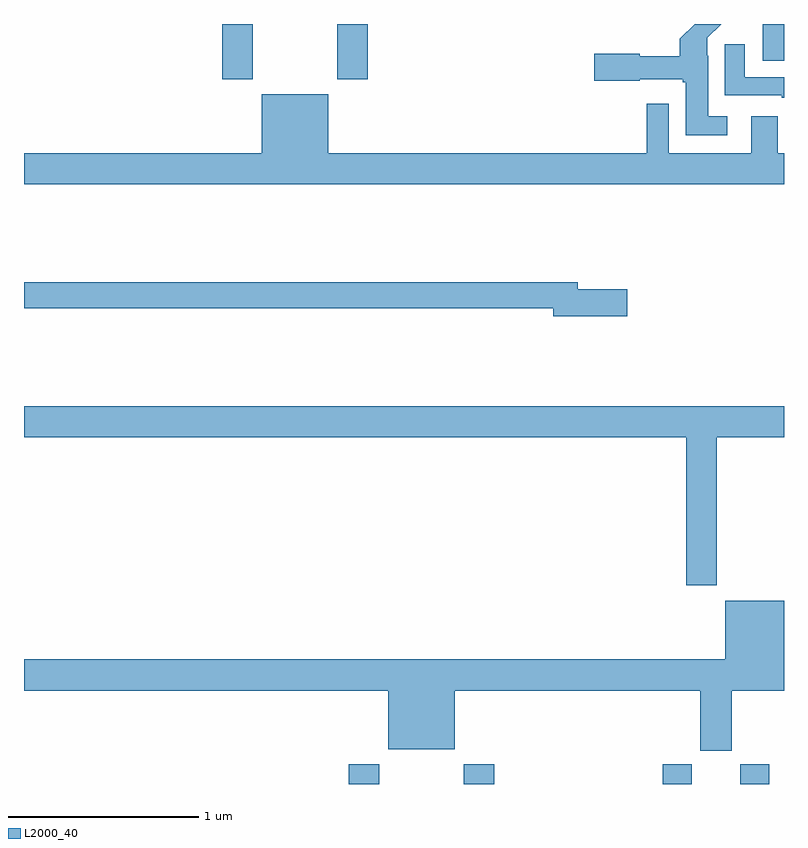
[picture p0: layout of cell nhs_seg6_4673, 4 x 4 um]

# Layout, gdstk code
import gdstk
lib = gdstk.Library(unit=1e-6, precision=1e-09)
def R(c, l, rs):  # rectangles x0, y0, x1, y1
    for r in rs: c.add(gdstk.rectangle(r[:2], r[2:], *l))
def P(c, l, *ps):  # polygons
    for p in ps: c.add(gdstk.Polygon(p, *l))
L2000_40 = (2000, 40)

nhs_seg6_4673 = lib.new_cell('nhs_seg6_4673')
R(nhs_seg6_4673, L2000_40, [(388.709,957.5,388.869,957.604), (389.314,957.5,389.474,957.604), (390.362,957.5,390.514,957.603), (390.77,957.5,390.923,957.603), (388.043,961.209,388.203,961.5), (388.648,961.209,388.808,961.5), (390.887,961.306,391,961.5)])
P(nhs_seg6_4673, L2000_40, [(390.7,961.015),(390.601,961.015),(390.601,961.334),(390.597,961.334),(390.597,961.428),(390.669,961.5),(390.53,961.5),(390.452,961.422),(390.452,961.33),(390.24,961.33),(390.24,961.343),(390,961.343),(390,961.201),(390.24,961.201),(390.24,961.208),(390.468,961.208),(390.468,961.194),(390.482,961.194),(390.482,960.914),(390.7,960.914)],
  [(391,961.221),(390.793,961.221),(390.793,961.393),(390.689,961.393),(390.689,961.125),(390.989,961.125),(390.989,961.113),(391,961.113)],
  [(391,960.82),(390.967,960.82),(390.967,961.015),(390.827,961.015),(390.827,960.82),(390.393,960.82),(390.393,961.081),(390.277,961.081),(390.277,960.82),(388.6,960.82),(388.6,961.129),(388.25,961.129),(388.25,960.82),(387,960.82),(387,960.656),(391,960.656)],
  [(390.175,960.104),(389.914,960.104),(389.914,960.14),(387,960.14),(387,960.004),(389.786,960.004),(389.786,959.962),(390.175,959.962)],
  [(387,959.324),(390.485,959.324),(390.485,958.545),(390.645,958.545),(390.645,959.324),(391,959.324),(391,959.488),(387,959.488)],
  [(390.724,957.992),(391,957.992),(391,958.465),(390.692,958.465),(390.692,958.156),(387,958.156),(387,957.992),(388.916,957.992),(388.916,957.683),(389.266,957.683),(389.266,957.992),(390.56,957.992),(390.56,957.675),(390.724,957.675)])

lib.write_gds('nhs_seg6_4673.gds')
